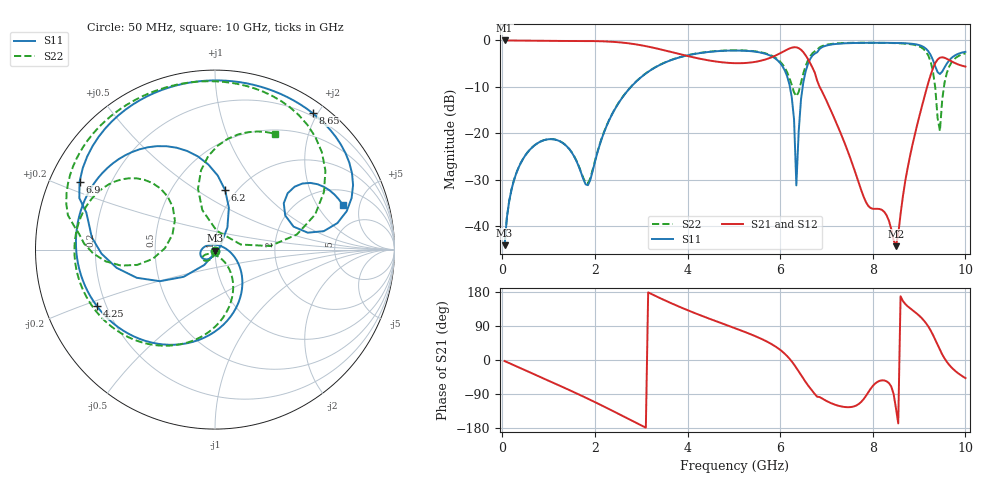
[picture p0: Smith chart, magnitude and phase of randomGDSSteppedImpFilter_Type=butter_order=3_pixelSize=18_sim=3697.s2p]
! freq	dB(S11)	phase(S11)	dB(S12)	phase(S12)
!  dB(S21)	phase(S21)	dB(S22)	phase(S22)
!S-par simulation data
#  GHz  S  DB  R 50
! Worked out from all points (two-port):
!   200 points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, 50 MHz to 10 GHz, reference 50 ohm
!   highest |S21| = 0.00 dB at 50 MHz (marker M1); lowest = -44.3 dB at 8.5 GHz (marker M2)
!   |S21| within 3 dB of the highest: start of sweep to 3.857 GHz; 5.953 GHz to 6.536 GHz (583.2 MHz wide, 9.34 % of centre)
!   lowest |S11| = -44.1 dB at 50 MHz (marker M3), VSWR 1.01, Z = 50 - j0.626 ohm
!   |S11| at or under -10 dB: start of sweep to 2.779 GHz; 6.21 GHz to 6.487 GHz (276.9 MHz wide, 4.36 % of centre)
!   |S22| runs from -44.1 to -0.5 dB; largest |S21 - S12| = 0
!   S11 on the Smith chart (normalised r, x): 50 MHz: 1.00, -0.01; 4.25 GHz: 0.16, -0.22; 6.2 GHz: 0.89, +0.66; 6.9 GHz: 0.09, +0.23; 8.65 GHz: 0.16, +1.93; 10 GHz: 2.95, +3.43
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0.05  -44.06 -92.1  -0.00 -2.8  -0.00 -2.8  -44.06 -91.5
0.25  -30.15 -104.9  -0.03 -13.7  -0.03 -13.7  -30.14 -101.9
0.7  -22.55 -133.2  -0.07 -38.3  -0.07 -38.3  -22.53 -124.2
1.75  -29.84 118.7  -0.12 -96.5  -0.12 -96.5  -29.61 -131.9
2.65  -11.52 -55.5  -0.53 -150.8  -0.53 -150.8  -11.48 -68.3
3.4  -5.28 -106.6  -1.88 163.7  -1.88 163.7  -5.25 -107.6
4.25  -2.74 -154.3  -3.90 119.3  -3.90 119.3  -2.71 -147.5
5.05  -2.17 166.4  -4.90 82.8  -4.90 82.8  -2.12 -179.7
5.8  -3.33 123.3  -3.69 43.0  -3.69 43.0  -3.19 148.2
6.2  -9.46 80.4  -1.74 3.7  -1.74 3.7  -8.06 131.8
6.3  -16.98 60.8  -1.46 -11.9  -1.46 -11.9  -11.18 144.0
6.35  -31.20 22.2  -1.48 -20.7  -1.48 -20.7  -12.00 160.7
6.45  -12.71 -139.0  -2.00 -39.5  -2.00 -39.5  -9.10 -171.5
6.7  -3.22 174.2  -5.89 -82.2  -5.89 -82.2  -2.73 177.3
6.9  -1.48 153.5  -10.88 -101.0  -10.88 -101.0  -1.23 162.7
8.35  -0.52 69.6  -38.85 -61.0  -38.85 -61.0  -0.54 94.0
8.5  -0.54 62.2  -44.28 -126.9  -44.28 -126.9  -0.58 86.8
8.65  -0.58 54.5  -33.58 155.8  -33.58 155.8  -0.65 78.8
9.2  -2.33 16.3  -9.08 88.2  -9.08 88.2  -3.26 27.9
9.45  -7.23 26.0  -3.71 26.5  -3.71 26.5  -19.51 85.1
9.6  -4.96 38.3  -3.96 -5.0  -3.96 -5.0  -6.96 100.0
10  -2.45 19.4  -5.63 -47.8  -5.63 -47.8  -2.78 62.8
